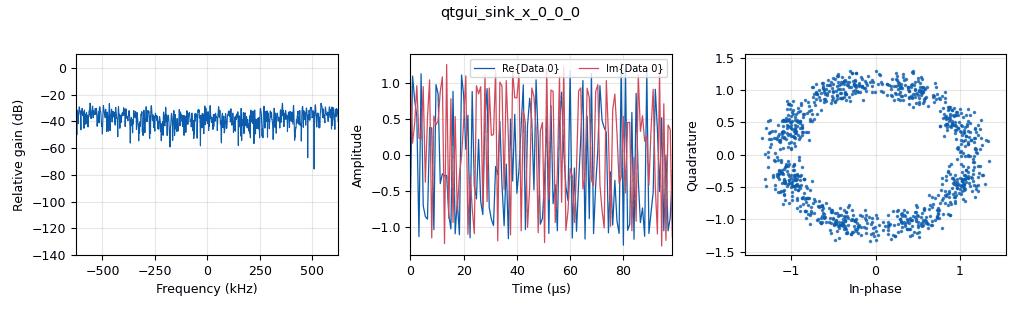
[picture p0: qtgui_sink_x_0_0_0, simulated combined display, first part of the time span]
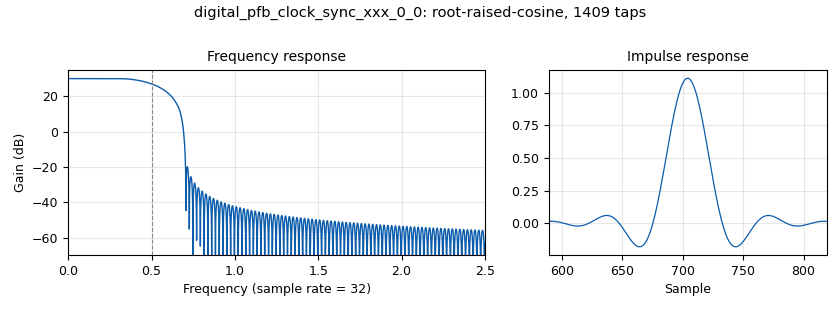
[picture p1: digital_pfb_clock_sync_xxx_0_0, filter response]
<?xml version='1.0' encoding='utf-8'?>
<?grc format='1' created='3.7.13'?>
<flow_graph>
<block>
<key>options</key>
<param><key>id</key><value>top_block</value></param>
<param><key>generate_options</key><value>qt_gui</value></param>
</block>
<block>
<key>variable</key>
<param><key>id</key><value>const_points</value></param>
<param><key>value</key><value>4</value></param>
</block>
<block>
<key>variable</key>
<param><key>id</key><value>excess_bw</value></param>
<param><key>value</key><value>0.4</value></param>
</block>
<block>
<key>variable</key>
<param><key>id</key><value>nfilts</value></param>
<param><key>value</key><value>32</value></param>
</block>
<block>
<key>variable</key>
<param><key>id</key><value>ntaps</value></param>
<param><key>value</key><value>11*nfilts*sps</value></param>
</block>
<block>
<key>variable</key>
<param><key>id</key><value>rx_taps</value></param>
<param><key>value</key><value>firdes.root_raised_cosine(nfilts, nfilts, 1.0, excess_bw, ntaps)</value></param>
</block>
<block>
<key>variable</key>
<param><key>id</key><value>samp_rate</value></param>
<param><key>value</key><value>5000000</value></param>
</block>
<block>
<key>variable</key>
<param><key>id</key><value>sps</value></param>
<param><key>value</key><value>4</value></param>
</block>
<block>
<key>variable</key>
<param><key>id</key><value>timing_bw</value></param>
<param><key>value</key><value>2*pi/100</value></param>
</block>
<block>
<key>variable</key>
<param><key>id</key><value>tx_taps</value></param>
<param><key>value</key><value>firdes.root_raised_cosine(nfilts, nfilts, 1.0, excess_bw, ntaps)</value></param>
</block>
<block>
<key>analog_agc_xx</key>
<param><key>id</key><value>analog_agc_xx_0</value></param>
<param><key>_enabled</key><value>0</value></param>
<param><key>gain</key><value>1.0</value></param>
<param><key>max_gain</key><value>65536</value></param>
<param><key>rate</key><value>1e-3</value></param>
<param><key>reference</key><value>1.0</value></param>
<param><key>type</key><value>complex</value></param>
</block>
<block>
<key>analog_const_source_x</key>
<param><key>id</key><value>analog_const_source_x_1</value></param>
<param><key>const</key><value>1</value></param>
<param><key>_enabled</key><value>0</value></param>
<param><key>type</key><value>float</value></param>
</block>
<block>
<key>analog_random_source_x</key>
<param><key>id</key><value>analog_random_source_x_0</value></param>
<param><key>max</key><value>8</value></param>
<param><key>min</key><value>0</value></param>
<param><key>num_samps</key><value>1000</value></param>
<param><key>type</key><value>byte</value></param>
<param><key>repeat</key><value>True</value></param>
</block>
<block>
<key>analog_sig_source_x</key>
<param><key>id</key><value>analog_sig_source_x_0</value></param>
<param><key>amp</key><value>1</value></param>
<param><key>freq</key><value>10000</value></param>
<param><key>offset</key><value>0</value></param>
<param><key>type</key><value>complex</value></param>
<param><key>samp_rate</key><value>samp_rate</value></param>
<param><key>waveform</key><value>analog.GR_SIN_WAVE</value></param>
</block>
<block>
<key>blocks_complex_to_arg</key>
<param><key>id</key><value>blocks_complex_to_arg_0</value></param>
</block>
<block>
<key>blocks_complex_to_arg</key>
<param><key>id</key><value>blocks_complex_to_arg_0_0</value></param>
<param><key>_enabled</key><value>0</value></param>
</block>
<block>
<key>blocks_delay</key>
<param><key>id</key><value>blocks_delay_0</value></param>
<param><key>delay</key><value>1</value></param>
<param><key>type</key><value>complex</value></param>
</block>
<block>
<key>blocks_divide_xx</key>
<param><key>id</key><value>blocks_divide_xx_0</value></param>
<param><key>type</key><value>complex</value></param>
</block>
<block>
<key>blocks_exponentiate_const_cci</key>
<param><key>id</key><value>blocks_exponentiate_const_cci_0</value></param>
<param><key>_enabled</key><value>0</value></param>
<param><key>exponent</key><value>8</value></param>
</block>
<block>
<key>blocks_exponentiate_const_cci</key>
<param><key>id</key><value>blocks_exponentiate_const_cci_0_0</value></param>
<param><key>_enabled</key><value>0</value></param>
<param><key>exponent</key><value>8</value></param>
</block>
<block>
<key>blocks_magphase_to_complex</key>
<param><key>id</key><value>blocks_magphase_to_complex_0</value></param>
<param><key>_enabled</key><value>0</value></param>
</block>
<block>
<key>blocks_multiply_const_vxx</key>
<param><key>id</key><value>blocks_multiply_const_vxx_0</value></param>
<param><key>const</key><value>-0.125</value></param>
<param><key>type</key><value>float</value></param>
</block>
<block>
<key>blocks_multiply_const_vxx</key>
<param><key>id</key><value>blocks_multiply_const_vxx_0_0</value></param>
<param><key>const</key><value>-0.125</value></param>
<param><key>_enabled</key><value>0</value></param>
<param><key>type</key><value>float</value></param>
</block>
<block>
<key>blocks_multiply_xx</key>
<param><key>id</key><value>blocks_multiply_xx_0</value></param>
<param><key>type</key><value>complex</value></param>
</block>
<block>
<key>blocks_multiply_xx</key>
<param><key>id</key><value>blocks_multiply_xx_1</value></param>
<param><key>type</key><value>complex</value></param>
</block>
<block>
<key>blocks_multiply_xx</key>
<param><key>id</key><value>blocks_multiply_xx_2</value></param>
<param><key>_enabled</key><value>0</value></param>
<param><key>type</key><value>complex</value></param>
</block>
<block>
<key>blocks_multiply_xx</key>
<param><key>id</key><value>blocks_multiply_xx_3_0</value></param>
<param><key>type</key><value>complex</value></param>
<param><key>num_inputs</key><value>4</value></param>
</block>
<block>
<key>blocks_multiply_xx</key>
<param><key>id</key><value>blocks_multiply_xx_3_0_0</value></param>
<param><key>type</key><value>complex</value></param>
</block>
<block>
<key>blocks_throttle</key>
<param><key>id</key><value>blocks_throttle_0</value></param>
<param><key>_enabled</key><value>0</value></param>
<param><key>samples_per_second</key><value>samp_rate/4</value></param>
<param><key>type</key><value>complex</value></param>
</block>
<block>
<key>blocks_throttle</key>
<param><key>id</key><value>blocks_throttle_1</value></param>
<param><key>samples_per_second</key><value>samp_rate</value></param>
<param><key>type</key><value>complex</value></param>
</block>
<block>
<key>blocks_vco_c</key>
<param><key>id</key><value>blocks_vco_c_0</value></param>
<param><key>amplitude</key><value>1</value></param>
<param><key>samp_rate</key><value>samp_rate/4</value></param>
<param><key>sensitivity</key><value>samp_rate/4</value></param>
</block>
<block>
<key>digital_chunks_to_symbols_xx</key>
<param><key>id</key><value>digital_chunks_to_symbols_xx_0</value></param>
<param><key>dimension</key><value>1</value></param>
<param><key>in_type</key><value>byte</value></param>
<param><key>out_type</key><value>complex</value></param>
<param><key>symbol_table</key><value>[1,(1+1j)/sqrt(2),1j,(-1+1j)/sqrt(2),-1,-(1+1j)/sqrt(2),-1j,-(-1+1j)/sqrt(2)]</value></param>
</block>
<block>
<key>digital_costas_loop_cc</key>
<param><key>id</key><value>digital_costas_loop_cc_0</value></param>
<param><key>w</key><value>2*pi/100</value></param>
<param><key>order</key><value>8</value></param>
</block>
<block>
<key>digital_pfb_clock_sync_xxx</key>
<param><key>id</key><value>digital_pfb_clock_sync_xxx_0_0</value></param>
<param><key>filter_size</key><value>nfilts</value></param>
<param><key>init_phase</key><value>16</value></param>
<param><key>loop_bw</key><value>timing_bw</value></param>
<param><key>max_dev</key><value>1.5</value></param>
<param><key>osps</key><value>1</value></param>
<param><key>sps</key><value>sps</value></param>
<param><key>taps</key><value>rx_taps</value></param>
<param><key>type</key><value>ccf</value></param>
</block>
<block>
<key>import</key>
<param><key>id</key><value>import_0</value></param>
<param><key>import</key><value>from math import pi</value></param>
</block>
<block>
<key>import</key>
<param><key>id</key><value>import_0_0</value></param>
<param><key>import</key><value>from gnuradio import digital</value></param>
</block>
<block>
<key>import</key>
<param><key>id</key><value>import_0_0_0</value></param>
<param><key>import</key><value>from gnuradio import filter</value></param>
</block>
<block>
<key>import</key>
<param><key>id</key><value>import_1</value></param>
<param><key>import</key><value>from math import sqrt</value></param>
</block>
<block>
<key>pfb_arb_resampler_xxx</key>
<param><key>id</key><value>pfb_arb_resampler_xxx_0</value></param>
<param><key>nfilts</key><value>32</value></param>
<param><key>rrate</key><value>sps</value></param>
<param><key>atten</key><value>100</value></param>
<param><key>taps</key><value>tx_taps</value></param>
<param><key>type</key><value>ccf</value></param>
</block>
<block>
<key>qtgui_sink_x</key>
<param><key>id</key><value>qtgui_sink_x_0</value></param>
<param><key>bw</key><value>samp_rate/4</value></param>
<param><key>fc</key><value>0</value></param>
<param><key>freqchangevar</key><value>None</value></param>
<param><key>_enabled</key><value>0</value></param>
<param><key>fftsize</key><value>1024</value></param>
<param><key>showports</key><value>True</value></param>
<param><key>type</key><value>complex</value></param>
<param><key>wintype</key><value>firdes.WIN_BLACKMAN_hARRIS</value></param>
</block>
<block>
<key>qtgui_sink_x</key>
<param><key>id</key><value>qtgui_sink_x_0_0</value></param>
<param><key>bw</key><value>samp_rate/4</value></param>
<param><key>fc</key><value>0</value></param>
<param><key>freqchangevar</key><value>None</value></param>
<param><key>_enabled</key><value>0</value></param>
<param><key>fftsize</key><value>1024</value></param>
<param><key>showports</key><value>True</value></param>
<param><key>type</key><value>complex</value></param>
<param><key>wintype</key><value>firdes.WIN_BLACKMAN_hARRIS</value></param>
</block>
<block>
<key>qtgui_sink_x</key>
<param><key>id</key><value>qtgui_sink_x_0_0_0</value></param>
<param><key>bw</key><value>samp_rate/4</value></param>
<param><key>fc</key><value>0</value></param>
<param><key>freqchangevar</key><value>None</value></param>
<param><key>fftsize</key><value>1024</value></param>
<param><key>showports</key><value>True</value></param>
<param><key>type</key><value>complex</value></param>
<param><key>wintype</key><value>firdes.WIN_BLACKMAN_hARRIS</value></param>
</block>
<block>
<key>qtgui_sink_x</key>
<param><key>id</key><value>qtgui_sink_x_0_1</value></param>
<param><key>bw</key><value>samp_rate/4</value></param>
<param><key>fc</key><value>0</value></param>
<param><key>freqchangevar</key><value>None</value></param>
<param><key>_enabled</key><value>0</value></param>
<param><key>fftsize</key><value>1024</value></param>
<param><key>showports</key><value>True</value></param>
<param><key>type</key><value>complex</value></param>
<param><key>wintype</key><value>firdes.WIN_BLACKMAN_hARRIS</value></param>
</block>
<block>
<key>qtgui_sink_x</key>
<param><key>id</key><value>qtgui_sink_x_1</value></param>
<param><key>bw</key><value>samp_rate/4</value></param>
<param><key>fc</key><value>0</value></param>
<param><key>freqchangevar</key><value>None</value></param>
<param><key>_enabled</key><value>0</value></param>
<param><key>fftsize</key><value>1024</value></param>
<param><key>showports</key><value>True</value></param>
<param><key>type</key><value>complex</value></param>
<param><key>wintype</key><value>firdes.WIN_BLACKMAN_hARRIS</value></param>
</block>
<connection><source_block_id>analog_agc_xx_0</source_block_id><sink_block_id>qtgui_sink_x_0_0</sink_block_id><source_key>0</source_key><sink_key>0</sink_key></connection>
<connection><source_block_id>analog_const_source_x_1</source_block_id><sink_block_id>blocks_magphase_to_complex_0</sink_block_id><source_key>0</source_key><sink_key>0</sink_key></connection>
<connection><source_block_id>analog_random_source_x_0</source_block_id><sink_block_id>digital_chunks_to_symbols_xx_0</sink_block_id><source_key>0</source_key><sink_key>0</sink_key></connection>
<connection><source_block_id>analog_sig_source_x_0</source_block_id><sink_block_id>blocks_multiply_xx_0</sink_block_id><source_key>0</source_key><sink_key>1</sink_key></connection>
<connection><source_block_id>blocks_complex_to_arg_0</source_block_id><sink_block_id>blocks_multiply_const_vxx_0</sink_block_id><source_key>0</source_key><sink_key>0</sink_key></connection>
<connection><source_block_id>blocks_complex_to_arg_0_0</source_block_id><sink_block_id>blocks_multiply_const_vxx_0_0</sink_block_id><source_key>0</source_key><sink_key>0</sink_key></connection>
<connection><source_block_id>blocks_delay_0</source_block_id><sink_block_id>blocks_divide_xx_0</sink_block_id><source_key>0</source_key><sink_key>1</sink_key></connection>
<connection><source_block_id>blocks_divide_xx_0</source_block_id><sink_block_id>blocks_complex_to_arg_0</sink_block_id><source_key>0</source_key><sink_key>0</sink_key></connection>
<connection><source_block_id>blocks_exponentiate_const_cci_0</source_block_id><sink_block_id>blocks_delay_0</sink_block_id><source_key>0</source_key><sink_key>0</sink_key></connection>
<connection><source_block_id>blocks_exponentiate_const_cci_0</source_block_id><sink_block_id>blocks_divide_xx_0</sink_block_id><source_key>0</source_key><sink_key>0</sink_key></connection>
<connection><source_block_id>blocks_exponentiate_const_cci_0_0</source_block_id><sink_block_id>blocks_complex_to_arg_0_0</sink_block_id><source_key>0</source_key><sink_key>0</sink_key></connection>
<connection><source_block_id>blocks_magphase_to_complex_0</source_block_id><sink_block_id>blocks_multiply_xx_2</sink_block_id><source_key>0</source_key><sink_key>1</sink_key></connection>
<connection><source_block_id>blocks_multiply_const_vxx_0</source_block_id><sink_block_id>blocks_vco_c_0</sink_block_id><source_key>0</source_key><sink_key>0</sink_key></connection>
<connection><source_block_id>blocks_multiply_const_vxx_0_0</source_block_id><sink_block_id>blocks_magphase_to_complex_0</sink_block_id><source_key>0</source_key><sink_key>1</sink_key></connection>
<connection><source_block_id>blocks_multiply_xx_0</source_block_id><sink_block_id>digital_pfb_clock_sync_xxx_0_0</sink_block_id><source_key>0</source_key><sink_key>0</sink_key></connection>
<connection><source_block_id>blocks_multiply_xx_1</source_block_id><sink_block_id>blocks_exponentiate_const_cci_0_0</sink_block_id><source_key>0</source_key><sink_key>0</sink_key></connection>
<connection><source_block_id>blocks_multiply_xx_1</source_block_id><sink_block_id>blocks_multiply_xx_2</sink_block_id><source_key>0</source_key><sink_key>0</sink_key></connection>
<connection><source_block_id>blocks_multiply_xx_1</source_block_id><sink_block_id>digital_costas_loop_cc_0</sink_block_id><source_key>0</source_key><sink_key>0</sink_key></connection>
<connection><source_block_id>blocks_multiply_xx_1</source_block_id><sink_block_id>qtgui_sink_x_0</sink_block_id><source_key>0</source_key><sink_key>0</sink_key></connection>
<connection><source_block_id>blocks_multiply_xx_2</source_block_id><sink_block_id>analog_agc_xx_0</sink_block_id><source_key>0</source_key><sink_key>0</sink_key></connection>
<connection><source_block_id>blocks_multiply_xx_3_0</source_block_id><sink_block_id>blocks_multiply_xx_3_0_0</sink_block_id><source_key>0</source_key><sink_key>0</sink_key></connection>
<connection><source_block_id>blocks_multiply_xx_3_0</source_block_id><sink_block_id>blocks_multiply_xx_3_0_0</sink_block_id><source_key>0</source_key><sink_key>1</sink_key></connection>
<connection><source_block_id>blocks_multiply_xx_3_0_0</source_block_id><sink_block_id>blocks_delay_0</sink_block_id><source_key>0</source_key><sink_key>0</sink_key></connection>
<connection><source_block_id>blocks_multiply_xx_3_0_0</source_block_id><sink_block_id>blocks_divide_xx_0</sink_block_id><source_key>0</source_key><sink_key>0</sink_key></connection>
<connection><source_block_id>blocks_throttle_0</source_block_id><sink_block_id>qtgui_sink_x_1</sink_block_id><source_key>0</source_key><sink_key>0</sink_key></connection>
<connection><source_block_id>blocks_throttle_1</source_block_id><sink_block_id>pfb_arb_resampler_xxx_0</sink_block_id><source_key>0</source_key><sink_key>0</sink_key></connection>
<connection><source_block_id>blocks_vco_c_0</source_block_id><sink_block_id>blocks_multiply_xx_1</sink_block_id><source_key>0</source_key><sink_key>0</sink_key></connection>
<connection><source_block_id>blocks_vco_c_0</source_block_id><sink_block_id>qtgui_sink_x_0_1</sink_block_id><source_key>0</source_key><sink_key>0</sink_key></connection>
<connection><source_block_id>digital_chunks_to_symbols_xx_0</source_block_id><sink_block_id>blocks_throttle_1</sink_block_id><source_key>0</source_key><sink_key>0</sink_key></connection>
<connection><source_block_id>digital_costas_loop_cc_0</source_block_id><sink_block_id>qtgui_sink_x_0_0_0</sink_block_id><source_key>0</source_key><sink_key>0</sink_key></connection>
<connection><source_block_id>digital_pfb_clock_sync_xxx_0_0</source_block_id><sink_block_id>blocks_exponentiate_const_cci_0</sink_block_id><source_key>0</source_key><sink_key>0</sink_key></connection>
<connection><source_block_id>digital_pfb_clock_sync_xxx_0_0</source_block_id><sink_block_id>blocks_multiply_xx_1</sink_block_id><source_key>0</source_key><sink_key>1</sink_key></connection>
<connection><source_block_id>digital_pfb_clock_sync_xxx_0_0</source_block_id><sink_block_id>blocks_multiply_xx_3_0</sink_block_id><source_key>0</source_key><sink_key>0</sink_key></connection>
<connection><source_block_id>digital_pfb_clock_sync_xxx_0_0</source_block_id><sink_block_id>blocks_multiply_xx_3_0</sink_block_id><source_key>0</source_key><sink_key>1</sink_key></connection>
<connection><source_block_id>digital_pfb_clock_sync_xxx_0_0</source_block_id><sink_block_id>blocks_multiply_xx_3_0</sink_block_id><source_key>0</source_key><sink_key>2</sink_key></connection>
<connection><source_block_id>digital_pfb_clock_sync_xxx_0_0</source_block_id><sink_block_id>blocks_multiply_xx_3_0</sink_block_id><source_key>0</source_key><sink_key>3</sink_key></connection>
<connection><source_block_id>digital_pfb_clock_sync_xxx_0_0</source_block_id><sink_block_id>blocks_throttle_0</sink_block_id><source_key>0</source_key><sink_key>0</sink_key></connection>
<connection><source_block_id>pfb_arb_resampler_xxx_0</source_block_id><sink_block_id>blocks_multiply_xx_0</sink_block_id><source_key>0</source_key><sink_key>0</sink_key></connection>
</flow_graph>
